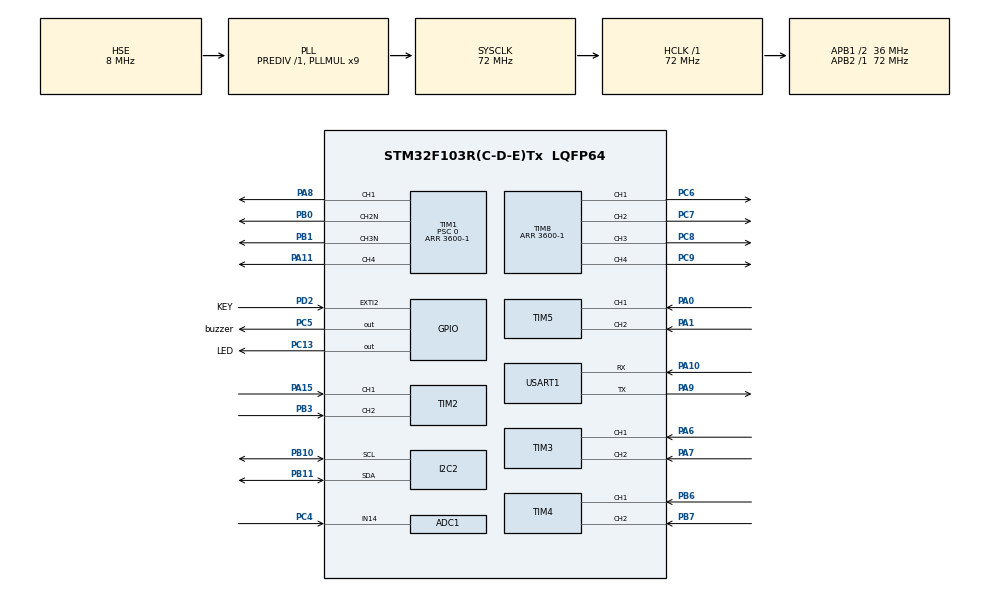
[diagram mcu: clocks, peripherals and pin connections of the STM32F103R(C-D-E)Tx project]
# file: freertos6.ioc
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ADC1.Channel-0\#ChannelRegularConversion=ADC_CHANNEL_14
ADC1.ContinuousConvMode=ENABLE
ADC1.NbrOfConversion=1
ADC1.NbrOfConversionFlag=1
ADC1.Rank-0\#ChannelRegularConversion=1
ADC1.SamplingTime-0\#ChannelRegularConversion=ADC_SAMPLETIME_239CYCLES_5
ADC1.master=1
FREERTOS.Tasks01=defaultTask,24,128,StartDefaultTask,Default,NULL,Dynamic,NULL,NULL
FREERTOS.configUSE_NEWLIB_REENTRANT=1
Mcu.Family=STM32F1
Mcu.Name=STM32F103R(C-D-E)Tx
Mcu.Package=LQFP64
NVIC.EXTI2_IRQn=true\:5\:0\:false\:false\:true\:true\:true\:true\:true
NVIC.PriorityGroup=NVIC_PRIORITYGROUP_4
NVIC.TIM6_IRQn=true\:15\:0\:false\:false\:true\:false\:false\:true\:true
NVIC.TIM7_IRQn=true\:5\:0\:false\:false\:true\:true\:true\:true\:true
NVIC.TimeBase=TIM6_IRQn
NVIC.TimeBaseIP=TIM6
PA0-WKUP.Signal=S_TIM5_CH1
PA1.Signal=S_TIM5_CH2
PA10.Mode=Asynchronous
PA10.Signal=USART1_RX
PA11.Signal=S_TIM1_CH4
PA13.Mode=Serial_Wire
PA13.Signal=SYS_JTMS-SWDIO
PA14.Mode=Serial_Wire
PA14.Signal=SYS_JTCK-SWCLK
PA15.Signal=S_TIM2_CH1_ETR
PA6.Signal=S_TIM3_CH1
PA7.Signal=S_TIM3_CH2
PA8.Signal=S_TIM1_CH1
PA9.Mode=Asynchronous
PA9.Signal=USART1_TX
PB0.Mode=PWM Generation2 CH2N
PB0.Signal=TIM1_CH2N
PB1.Mode=PWM Generation3 CH3N
PB1.Signal=TIM1_CH3N
PB10.Mode=I2C
PB10.Signal=I2C2_SCL
PB11.Mode=I2C
PB11.Signal=I2C2_SDA
PB3.Signal=S_TIM2_CH2
PB6.Signal=S_TIM4_CH1
PB7.Signal=S_TIM4_CH2
PC13-TAMPER-RTC.GPIO_Label=LED
PC13-TAMPER-RTC.Signal=GPIO_Output
PC4.Signal=ADCx_IN14
PC5.GPIO_Label=buzzer
PC5.GPIO_Speed=GPIO_SPEED_FREQ_LOW
PC5.Signal=GPIO_Output
PC6.Signal=S_TIM8_CH1
PC7.Signal=S_TIM8_CH2
PC8.Signal=S_TIM8_CH3
PC9.Signal=S_TIM8_CH4
PD0-OSC_IN.Mode=HSE-External-Oscillator
PD0-OSC_IN.Signal=RCC_OSC_IN
PD1-OSC_OUT.Mode=HSE-External-Oscillator
PD1-OSC_OUT.Signal=RCC_OSC_OUT
PD2.GPIO_Label=KEY
PD2.GPIO_ModeDefaultEXTI=GPIO_MODE_IT_FALLING
PD2.GPIO_PuPd=GPIO_PULLUP
PD2.Signal=GPXTI2
ProjectManager.HeapSize=0x200
ProjectManager.StackSize=0x400
ProjectManager.TargetToolchain=STM32CubeIDE
RCC.ADCPresc=RCC_ADCPCLK2_DIV6
RCC.AHBFreq_Value=72000000
RCC.APB1CLKDivider=RCC_HCLK_DIV2
RCC.APB1Freq_Value=36000000
RCC.APB1TimFreq_Value=72000000
RCC.APB2Freq_Value=72000000
RCC.APB2TimFreq_Value=72000000
RCC.HCLKFreq_Value=72000000
RCC.PLLMUL=RCC_PLL_MUL9
RCC.PLLSourceVirtual=RCC_PLLSOURCE_HSE
RCC.SYSCLKFreq_VALUE=72000000
RCC.SYSCLKSource=RCC_SYSCLKSOURCE_PLLCLK
RCC.USBFreq_Value=72000000
SH.ADCx_IN14.0=ADC1_IN14,IN14
SH.S_TIM1_CH1.0=TIM1_CH1,PWM Generation1 CH1
SH.S_TIM1_CH4.0=TIM1_CH4,PWM Generation4 CH4
SH.S_TIM2_CH1_ETR.0=TIM2_CH1,Encoder_Interface
SH.S_TIM2_CH2.0=TIM2_CH2,Encoder_Interface
SH.S_TIM3_CH1.0=TIM3_CH1,Encoder_Interface
SH.S_TIM3_CH2.0=TIM3_CH2,Encoder_Interface
SH.S_TIM4_CH1.0=TIM4_CH1,Encoder_Interface
SH.S_TIM4_CH2.0=TIM4_CH2,Encoder_Interface
SH.S_TIM5_CH1.0=TIM5_CH1,Encoder_Interface
SH.S_TIM5_CH2.0=TIM5_CH2,Encoder_Interface
SH.S_TIM8_CH1.0=TIM8_CH1,Output Compare1 CH1
SH.S_TIM8_CH2.0=TIM8_CH2,PWM Generation2 CH2
SH.S_TIM8_CH3.0=TIM8_CH3,PWM Generation3 CH3
SH.S_TIM8_CH4.0=TIM8_CH4,PWM Generation4 CH4
TIM1.AutoReloadPreload=TIM_AUTORELOAD_PRELOAD_ENABLE
TIM1.Channel-PWM\ Generation1\ CH1=TIM_CHANNEL_1
TIM1.Channel-PWM\ Generation2\ CH2N=TIM_CHANNEL_2
TIM1.Channel-PWM\ Generation3\ CH3N=TIM_CHANNEL_3
TIM1.Channel-PWM\ Generation4\ CH4=TIM_CHANNEL_4
TIM1.Period=3600-1
TIM1.Prescaler=0
TIM3.AutoReloadPreload=TIM_AUTORELOAD_PRELOAD_ENABLE
TIM3.EncoderMode=TIM_ENCODERMODE_TI12
TIM3.IC1Filter=0xf
TIM3.IC2Filter=0xf
TIM7.AutoReloadPreload=TIM_AUTORELOAD_PRELOAD_ENABLE
TIM7.Period=10000-1
TIM7.Prescaler=7200-1
TIM8.Channel-Output\ Compare1\ CH1=TIM_CHANNEL_1
TIM8.Channel-PWM\ Generation2\ CH2=TIM_CHANNEL_2
TIM8.Channel-PWM\ Generation3\ CH3=TIM_CHANNEL_3
TIM8.Channel-PWM\ Generation4\ CH4=TIM_CHANNEL_4
TIM8.Period=3600-1
USART1.VirtualMode=VM_ASYNC
VP_FREERTOS_VS_CMSIS_V2.Mode=CMSIS_V2
VP_SYS_VS_tim6.Mode=TIM6
VP_TIM1_VS_ClockSourceINT.Mode=Internal
VP_TIM7_VS_ClockSourceINT.Mode=Enable_Timer
VP_TIM8_VS_ClockSourceINT.Mode=Internal
board=custom

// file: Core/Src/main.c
/* USER CODE BEGIN Header */
/**
  ******************************************************************************
  * @file           : main.c
  * @brief          : Main program body
  ******************************************************************************
  * @attention
  *
  * Copyright (c) 2025 STMicroelectronics.
  * All rights reserved.
  *
  * This software is licensed under terms that can be found in the LICENSE file
  * in the root directory of this software component.
  * If no LICENSE file comes with this software, it is provided AS-IS.
  *
  ******************************************************************************
  */
/* USER CODE END Header */
#include "main.h"
#include "cmsis_os.h"
#include "adc.h"
#include "i2c.h"
#include "tim.h"
#include "usart.h"
#include "gpio.h"

/* USER CODE BEGIN Includes */
#include "freertos_ITF.h"
/* USER CODE END Includes */

void SystemClock_Config(void);
void MX_FREERTOS_Init(void);

int main(void)
{

  /* MCU Configuration--------------------------------------------------------*/

  /* Reset of all peripherals, Initializes the Flash interface and the Systick. */
  HAL_Init();

  /* Configure the system clock */
  SystemClock_Config();

  /* Initialize all configured peripherals */
  MX_GPIO_Init();
  MX_I2C2_Init();
  MX_TIM1_Init();
  MX_TIM8_Init();
  MX_TIM3_Init();
  MX_USART1_UART_Init();
  MX_TIM2_Init();
  MX_TIM4_Init();
  MX_TIM5_Init();
  MX_ADC1_Init();
  MX_TIM7_Init();
  /* USER CODE BEGIN 2 */
  Encoder_Init();
    Motor_Init();
    ADC_Voltage_Init();
    OLED_Init();
    OLED_Clear();
  /* USER CODE END 2 */

  /* Init scheduler */
  osKernelInitialize();

  /* Call init function for freertos objects (in cmsis_os2.c) */
  MX_FREERTOS_Init();

  /* Start scheduler */
  osKernelStart();

  /* We should never get here as control is now taken by the scheduler */

  /* Infinite loop */
    while (1) {

    }
}

void SystemClock_Config(void)
{
  RCC_OscInitTypeDef RCC_OscInitStruct = {0};
  RCC_ClkInitTypeDef RCC_ClkInitStruct = {0};
  RCC_PeriphCLKInitTypeDef PeriphClkInit = {0};

  /** Initializes the RCC Oscillators according to the specified parameters
  * in the RCC_OscInitTypeDef structure.
  */
  RCC_OscInitStruct.OscillatorType = RCC_OSCILLATORTYPE_HSE;
  RCC_OscInitStruct.HSEState = RCC_HSE_ON;
  RCC_OscInitStruct.HSEPredivValue = RCC_HSE_PREDIV_DIV1;
  RCC_OscInitStruct.HSIState = RCC_HSI_ON;
  RCC_OscInitStruct.PLL.PLLState = RCC_PLL_ON;
  RCC_OscInitStruct.PLL.PLLSource = RCC_PLLSOURCE_HSE;
  RCC_OscInitStruct.PLL.PLLMUL = RCC_PLL_MUL9;
  if (HAL_RCC_OscConfig(&RCC_OscInitStruct) != HAL_OK)
  {
    Error_Handler();
  }

  /** Initializes the CPU, AHB and APB buses clocks
  */
  RCC_ClkInitStruct.ClockType = RCC_CLOCKTYPE_HCLK|RCC_CLOCKTYPE_SYSCLK
                              |RCC_CLOCKTYPE_PCLK1|RCC_CLOCKTYPE_PCLK2;
  RCC_ClkInitStruct.SYSCLKSource = RCC_SYSCLKSOURCE_PLLCLK;
  RCC_ClkInitStruct.AHBCLKDivider = RCC_SYSCLK_DIV1;
  RCC_ClkInitStruct.APB1CLKDivider = RCC_HCLK_DIV2;
  RCC_ClkInitStruct.APB2CLKDivider = RCC_HCLK_DIV1;

  if (HAL_RCC_ClockConfig(&RCC_ClkInitStruct, FLASH_LATENCY_2) != HAL_OK)
  {
    Error_Handler();
  }
  PeriphClkInit.PeriphClockSelection = RCC_PERIPHCLK_ADC;
  PeriphClkInit.AdcClockSelection = RCC_ADCPCLK2_DIV6;
  if (HAL_RCCEx_PeriphCLKConfig(&PeriphClkInit) != HAL_OK)
  {
    Error_Handler();
  }
}

void HAL_TIM_PeriodElapsedCallback(TIM_HandleTypeDef *htim)
{
  /* USER CODE BEGIN Callback 0 */
    /* 定义变量 */
    extern QueueHandle_t g_QueueA;
    static int16_t cnt;
    /* 定义结构体 */
    EncoderData QueueA_Data_Input;
    if (htim->Instance == TIM7) {
        QueueA_Data_Input.cnt_value = Encoder_Read_CNT(4);
        QueueA_Data_Input.speed = QueueA_Data_Input.cnt_value % 100;
        strcpy(QueueA_Data_Input.messages, "EncoderGet!");
//        OLED_ShowNum(0, 0, QueueA_Data_Input.speed, 4, 16);
//        OLED_ShowStr(40, 0, QueueA_Data_Input.messages, 16);
//        OLED_ShowNum(0, 2, QueueA_Data_Input.cnt_value, 4, 16);
        if (g_QueueA != NULL) {
            xQueueSendFromISR(g_QueueA, &QueueA_Data_Input, NULL);
        }
    }
  /* USER CODE END Callback 0 */
  if (htim->Instance == TIM6) {
    HAL_IncTick();
  }
}

void Error_Handler(void)
{
    __disable_irq();
    while (1) {
    }
}

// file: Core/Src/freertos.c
/* USER CODE BEGIN Header */
/**
  ******************************************************************************
  * File Name          : freertos.c
  * Description        : Code for freertos applications
  ******************************************************************************
  * @attention
  *
  * Copyright (c) 2025 STMicroelectronics.
  * All rights reserved.
  *
  * This software is licensed under terms that can be found in the LICENSE file
  * in the root directory of this software component.
  * If no LICENSE file comes with this software, it is provided AS-IS.
  *
  ******************************************************************************
  */
/* USER CODE END Header */

#include "FreeRTOS.h"
#include "task.h"
#include "main.h"
#include "cmsis_os.h"

/* USER CODE BEGIN Includes */
#include "freertos_ITF.h"
/* USER CODE END Includes */

/* USER CODE BEGIN Variables */
// 定义队列句柄
QueueHandle_t g_QueueA = NULL;
QueueHandle_t g_QueueB = NULL;
/* USER CODE END Variables */
/* Definitions for defaultTask */
osThreadId_t defaultTaskHandle;
const osThreadAttr_t defaultTask_attributes = {
        .name = "defaultTask",
        .stack_size = 128,
        .priority = (osPriority_t) osPriorityNormal,
};

/* USER CODE BEGIN FunctionPrototypes */
void OLED_Queue_Task(void *argument);

void Encoder_Queue_Task(void *argument);

/* USER CODE END FunctionPrototypes */

void StartDefaultTask(void *argument);

void MX_FREERTOS_Init(void); /* (MISRA C 2004 rule 8.1) */

void MX_FREERTOS_Init(void) {
    /* USER CODE BEGIN Init */
    /* 创建队列 */
    g_QueueA = xQueueCreate(10, sizeof(OLEDData));
    g_QueueB = xQueueCreate(10, sizeof(EncoderData));
    /* USER CODE END Init */

    /* Create the thread(s) */
    /* creation of defaultTask */
    defaultTaskHandle = osThreadNew(StartDefaultTask, NULL, &defaultTask_attributes);

    /* USER CODE BEGIN RTOS_THREADS */
    /* add threads, ... */
    xTaskCreate(OLED_Queue_Task, "QueueTask1", 128, NULL, osPriorityNormal, NULL);
    xTaskCreate(Encoder_Queue_Task, "QueueTask2", 128, NULL, osPriorityNormal, NULL);

    /* USER CODE END RTOS_THREADS */

}

void StartDefaultTask(void *argument) {
    /* USER CODE BEGIN StartDefaultTask */
    /* Infinite loop */
    rtMotor_Test();
    /* USER CODE END StartDefaultTask */
}

/* USER CODE BEGIN Application */
void OLED_Queue_Task(void *argument) {
    /* 定义结构 */
    OLEDData QueueB_Data_Output;
    while (1) {
        /* 读队列B */
        if (pdTRUE == xQueueReceive(g_QueueB, &QueueB_Data_Output, portMAX_DELAY)) {
            /* 显示队列B数据 */
            OLED_ShowNum(0, 0, QueueB_Data_Output.speed, 4, 16);
            OLED_ShowStr(40, 0, QueueB_Data_Output.messages, 16);
            OLED_ShowNum(0, 2, QueueB_Data_Output.cnt_value, 4, 16);
        }
        vTaskDelay(200);
    }
}

void Encoder_Queue_Task(void *argument) {
    /* 定义结构 */
    EncoderData QueueA_Data_Output;
    OLEDData QueueB_Data_Input;
    while (1) {
        /* 读队列A */
        if (pdTRUE == xQueueReceive(g_QueueA, &QueueA_Data_Output, portMAX_DELAY)) {
            /* 处理队列A数据 */
            QueueB_Data_Input.cnt_value = (int16_t) (QueueA_Data_Output.cnt_value - 1000);
            QueueB_Data_Input.speed = (QueueA_Data_Output.speed) % 10;
            strcpy(QueueB_Data_Input.messages, "SendOLED!");
//            OLED_ShowNum(0, 0, QueueB_Data_Input.speed, 4, 16);
//            OLED_ShowStr(40, 0, QueueB_Data_Input.messages, 16);
//            OLED_ShowNum(0, 2, QueueB_Data_Input.cnt_value, 4, 16);
            /* 发送队列B */
            if (pdTRUE == xQueueSend(g_QueueB, &QueueB_Data_Input, 0)) {
                LED_ON();
            }
        }
        vTaskDelay(200);
    }
}
/* USER CODE END Application */
